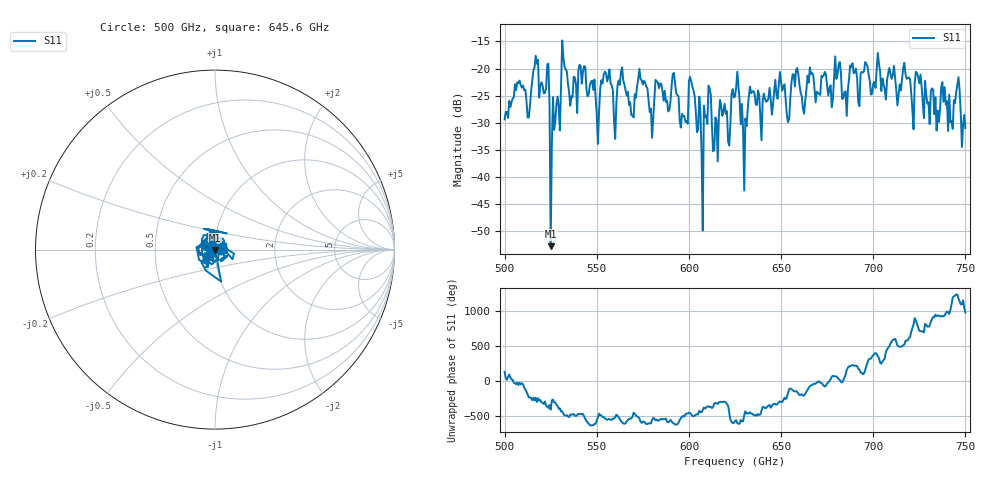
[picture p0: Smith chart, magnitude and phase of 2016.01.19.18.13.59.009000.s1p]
!Created with skrf (http://scikit-rf.org).
# GHz S RI R 50.0
!freq ReS11 ImS11
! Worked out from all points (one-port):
!   401 points, 500 GHz to 750 GHz, reference 50 ohm
!   lowest |S11| = -52.7 dB at 525 GHz (marker M1), VSWR 1.00, Z = 50.1 - j0.187 ohm
!   |S11| at or under -10 dB: start of sweep to end of sweep
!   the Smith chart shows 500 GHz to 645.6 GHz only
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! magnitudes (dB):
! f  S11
! 500 GHz  -29.4
! 513.1 GHz  -29.0
! 516.9 GHz  -17.6
! 523.1 GHz  -19.3
! 525 GHz  -52.7
! 526.2 GHz  -25.3
! 531.2 GHz  -14.8
! 550.6 GHz  -33.9
! 562.5 GHz  -23.0
! 568.8 GHz  -28.6
! 573.8 GHz  -21.9
! 579.4 GHz  -27.4
! 583.1 GHz  -22.6
! 593.8 GHz  -24.9
! 598.1 GHz  -29.8
! 601.2 GHz  -22.4
! 608.1 GHz  -26.8
! 610.6 GHz  -23.2
! 614.4 GHz  -29.0
! 625 GHz  -25.2
! 630.6 GHz  -29.2
! 633.8 GHz  -24.5
! 656.2 GHz  -21.1
! 687.5 GHz  -19.4
! 718.8 GHz  -21.7
! 741.9 GHz  -29.9
! 745.6 GHz  -23.0
! 750 GHz  -31.0
